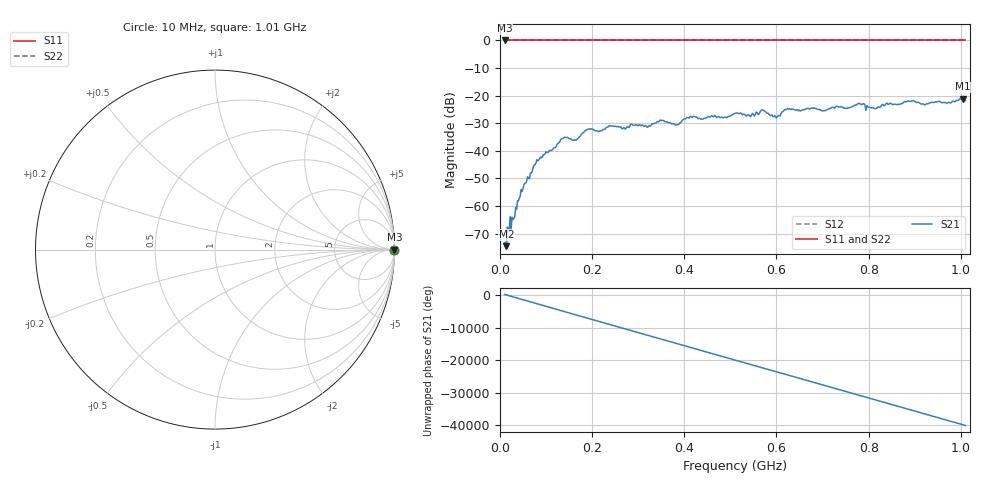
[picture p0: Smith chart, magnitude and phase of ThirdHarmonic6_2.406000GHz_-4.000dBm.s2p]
! 8/17/2025 4:00:04 AM
! C:\ANRITSUVNA\TEMP\TEMP.S2P
! CHANNEL.1
! TR.MEASUREMENT
! RAW.DATA
! RF.CORRECTION.OFF
! AVERAGING.OFF
! IF.BANDWIDTH: 5KHZ
! SWEEPTYPE:  FREQ.SWEEP(Linear)
! Reference Plane Port Info
! PORT:  PORT1  PORT2
! DISTANCE:  0  m  0  m
! TIME:  0  s  0  s
! PHASE.OFFSET:  0  deg.  0  deg.
! LOSS:  0  dB  0  dB
! REF.LOSS:  0  dB  0  dB
! REF.FREQ:  0  Hz  0  Hz
! Power Info
! POWER:  -20  dBm  -20  dBm
! EFF.POWER:  -20  dBm  -20  dBm
! SOURCE.ATTEN:  0  dB  0  dB
! TEST.ATTEN:  0  dB  0  dB
# GHZ S RI R 50.0
! FREQ.GHZ  S11RE  S11IM  S21RE  S21IM  S12RE  S12IM  S22RE  S22IM
!; PortSelection: Port_12
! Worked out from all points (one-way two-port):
!   501 points, 10 MHz to 1.01 GHz, reference 50 ohm
!   highest |S21| = -21.13 dB at 1.004 GHz (marker M1); lowest = -74.6 dB at 14 MHz (marker M2)
!   lowest |S11| = 0.0 dB at 10 MHz (marker M3)
!   |S11| at or under -10 dB: nowhere
!   |S22| runs from 0.0 to 0.0 dB; largest |S21 - S12| = 1.1
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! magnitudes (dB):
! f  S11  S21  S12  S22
! 10 MHz  0.0  -73.4  0.0  0.0
! 14 MHz  0.0  -74.6  0.0  0.0
! 50 MHz  0.0  -53.7  0.0  0.0
! 78 MHz  0.0  -44.4  0.0  0.0
! 136 MHz  0.0  -35.6  0.0  0.0
! 162 MHz  0.0  -36.0  0.0  0.0
! 178 MHz  0.0  -33.7  0.0  0.0
! 194 MHz  0.0  -32.1  0.0  0.0
! 322 MHz  0.0  -31.1  0.0  0.0
! 344 MHz  0.0  -29.5  0.0  0.0
! 384 MHz  0.0  -30.5  0.0  0.0
! 416 MHz  0.0  -27.8  0.0  0.0
! 510 MHz  0.0  -26.4  0.0  0.0
! 570 MHz  0.0  -25.2  0.0  0.0
! 598 MHz  0.0  -27.7  0.0  0.0
! 622 MHz  0.0  -25.0  0.0  0.0
! 678 MHz  0.0  -24.5  0.0  0.0
! 780 MHz  0.0  -22.8  0.0  0.0
! 814 MHz  0.0  -24.8  0.0  0.0
! 844 MHz  0.0  -23.1  0.0  0.0
! 1.004 GHz  0.0  -21.1  0.0  0.0
! 1.01 GHz  0.0  -21.9  0.0  0.0
